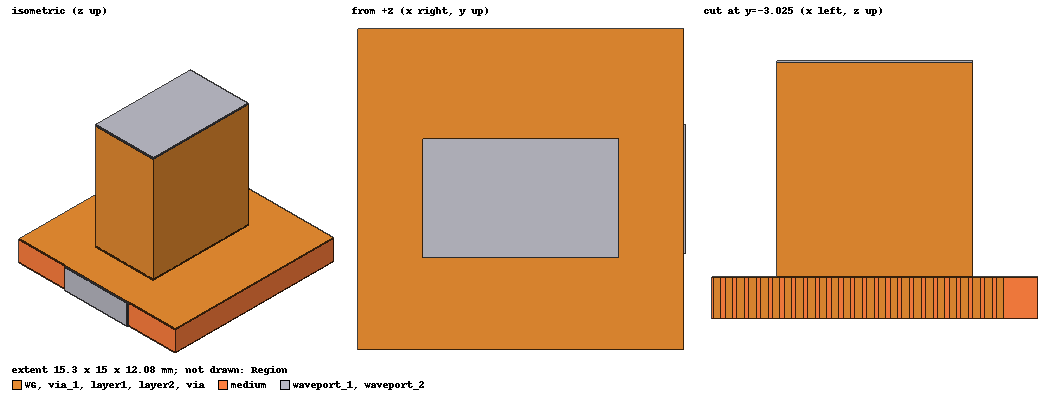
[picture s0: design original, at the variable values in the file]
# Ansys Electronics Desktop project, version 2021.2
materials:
  Rogers RO4003 (tm): permittivity=3.55 dielectric_loss_tangent=0.0027
  air: permittivity=1.0006 permeability=1.0000004
  copper: permeability=0.999991 conductivity=58000000
  pec: conductivity=1e+30
  vacuum: permittivity=1
  Rogers RO4350 (tm): permittivity=3.66 dielectric_loss_tangent=0.004
  Rogers TMM 3 (tm): permittivity=3.27 dielectric_loss_tangent=0.002

design original (HFSS, DrivenModal, model units mm)
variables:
  m_length = 15.2mm
  m_width = 15mm
  m_thickness = 1.905mm
  line_thickness = 0.035mm
  WG_high = 10mm
  WG_length = 7.112mm
  WG_width = 3.556mm
  WG_thickness = 1mm
  slot1_width = 0.586mm
  slot1_length = 3.431mm
  slot2_x_dis = 0.9mm
  slot1_x_dis = -0.91mm  # -0.91
  via_raius = 0.175mm
  d_end = 2.133mm
  SIW_width = 6.05mm
  d_WG_y = -0.431mm
  slot2_length = 3.961mm
  slot2_width = 0.798mm
  WG_sub_ydis = 0.25mm
  slot1_xdis = -0.15mm
  slot2_xdis = -0.15mm
  WG_sub_xdis = 0mm
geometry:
  medium [Rogers TMM 3 (tm)] = box(corner=(-m_length /2, -m_width /2, - m_thickness /2), size=(m_length, m_width, m_thickness))
  layer1 [copper] = box(corner=(-m_length /2, -m_width /2, m_thickness /2), size=(m_length, m_width, line_thickness))
  layer2 [copper] = box(corner=(-m_length /2, -m_width /2, - m_thickness /2 - line_thickness), size=(m_length, m_width, line_thickness))
  WG_sub = box(corner=(- WG_length /2, -WG_width /2, m_thickness /2 + line_thickness), size=(WG_length, WG_width, WG_high))
  WG [copper] = box(corner=(-(  WG_length  +WG_thickness *2 )/2, - (WG_width  +WG_thickness *2 )/2, m_thickness /2 + line_thickness), size=(WG_length +WG_thickness *2, WG_width  +WG_thickness *2, WG_high))
  slot1 = box(corner=(- slot1_length /2, slot1_x_dis -slot1_width/2, m_thickness /2), size=(slot1_length, slot1_width, line_thickness))
  slot2 = box(corner=(- slot2_length /2, slot2_x_dis-slot2_width/2, m_thickness /2), size=(slot2_length, slot2_width, line_thickness))
  via [copper] = cylinder(axis=Z, base_centre=(- WG_length /2 - 2.298mm, - SIW_width /2, - m_thickness /2), radius=via_raius, height=m_thickness)
  via_1 [copper], via_2..via_24 = via.duplicate_along_line(step=(0.55mm, 0mm, 0mm), total=25)
  via_25..via_37 = via.duplicate_along_line(step=(0mm, 0.55mm, 0mm), total=14)
  via_1.unite(via_2..via_24)
  via.unite(via_25, via_27, via_28, via_30, via_32, via_34..via_37, via_33, via_31, via_29, via_26)
  via_1_1 [copper] = via_1.duplicate_mirror(point=(0mm, 0mm, 0mm), normal=(0mm, 1mm, 0mm))
  WG_sub.move(WG_sub_xdis, d_WG_y, 0mm)
  WG.move(0mm, d_WG_y, 0mm)
  layer1.subtract(slot1, slot2)
  WG.subtract(WG_sub)
  via_38 = via.copy()
  via_1_2 = via_1.copy()
  via_1_1_1 = via_1_1.copy()
  medium.subtract(via_38, via_1_2, via_1_1_1)
  waveport1 = rectangle(corner=(-(  WG_length  +WG_thickness *2 )/2, - (WG_width  +WG_thickness *2 )/2, m_thickness /2 + line_thickness + WG_high), x_size=WG_length + WG_thickness *2, y_size=WG_width + WG_thickness *2)
  waveport_1 [pec] = box(corner=(-(  WG_length  +WG_thickness *2 )/2, - (WG_width  +WG_thickness *2 )/2, m_thickness /2 + line_thickness + WG_high), size=(WG_length  +WG_thickness *2, WG_width  +WG_thickness *2, 0.1mm))
  waveport2 = rectangle(corner=(m_length /2, -SIW_width /2, -m_thickness/2-line_thickness), y_size=SIW_width, z_size=m_thickness+line_thickness *2)
  waveport_2 [pec] = box(corner=(m_length /2, -SIW_width /2, -m_thickness/2-line_thickness), size=(0.1mm, SIW_width, m_thickness + line_thickness *2))
  Region [air] = region(percentage_offset=30 on all sides)
  [waveport_1, waveport1].move(0mm, d_WG_y, 0mm)
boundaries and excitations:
  Rad1: Radiation Objects=Region
  1: Wave Port Objects=waveport1 NumModes=1 Modes{Mode1{CharImp=Zpi}}
  2: Wave Port Objects=waveport2 NumModes=1 Modes{Mode1{CharImp=Zpi}}
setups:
  Setup1: HfssDriven Frequency=25GHz MaxDeltaS=0.02 MaximumPasses=10 MinimumPasses=1 MinimumConvergedPasses=1 PercentRefinement=30 BasisOrder=1 PortAccuracy=2
    sweep Sweep: 23GHz to 29GHz step 0.05GHz; Type=Interpolating InterpTolerance=0.5 InterpMaxSolns=250 InterpUsePortImped=false PassivityErrorTolerance=0.0001
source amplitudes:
  1:1: 1W 0deg
  2:1: 0W 0deg
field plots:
  Mag_E1: E Field in medium on Setup1 : LastAdaptive at Freq=25GHz Phase=0deg
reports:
  S Parameter Plot 1: dB(S(1,1)), dB(S(2,1)) vs Freq on Setup1 : Sweep; markers MY1 at y=-1, MY2 at y=-10, MY3 at y=-15
